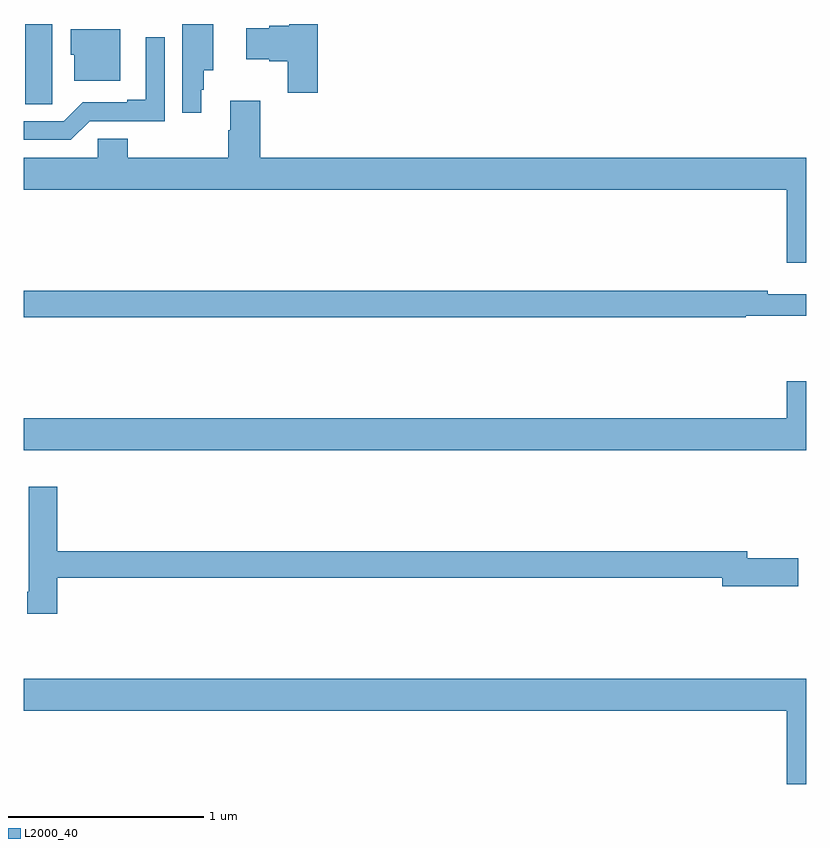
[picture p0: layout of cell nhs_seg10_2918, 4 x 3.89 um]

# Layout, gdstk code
import gdstk
lib = gdstk.Library(unit=1e-6, precision=1e-09)
def P(c, l, *ps):  # polygons
    for p in ps: c.add(gdstk.Polygon(p, *l))
L2000_40 = (2000, 40)

nhs_seg10_2918 = lib.new_cell('nhs_seg10_2918')
P(nhs_seg10_2918, L2000_40, [(270.503,1298.5),(270.356,1298.5),(270.356,1298.492),(270.255,1298.492),(270.255,1298.479),(270.138,1298.479),(270.138,1298.321),(270.255,1298.321),(270.255,1298.309),(270.349,1298.309),(270.349,1298.148),(270.503,1298.148)],
  [(269.908,1298.163),(269.92,1298.163),(269.92,1298.264),(269.968,1298.264),(269.968,1298.5),(269.81,1298.5),(269.81,1298.368),(269.811,1298.368),(269.811,1298.046),(269.908,1298.046)],
  [(269.145,1298.2),(269.146,1298.2),(269.146,1298.5),(269.006,1298.5),(269.006,1298.089),(269.145,1298.089)],
  [(269.494,1298.473),(269.24,1298.473),(269.24,1298.343),(269.258,1298.343),(269.258,1298.21),(269.494,1298.21)],
  [(269.337,1298.004),(269.721,1298.004),(269.721,1298.431),(269.624,1298.431),(269.624,1298.113),(269.528,1298.113),(269.528,1298.1),(269.301,1298.1),(269.205,1298.004),(269,1298.004),(269,1297.908),(269.241,1297.908)],
  [(273,1297.816),(270.209,1297.816),(270.209,1298.107),(270.056,1298.107),(270.056,1297.958),(270.044,1297.958),(270.044,1297.816),(269.531,1297.816),(269.531,1297.914),(269.379,1297.914),(269.379,1297.816),(269,1297.816),(269,1297.652),(272.9,1297.652),(272.9,1297.278),(273,1297.278)],
  [(272.69,1297.008),(273,1297.008),(273,1297.117),(272.804,1297.117),(272.804,1297.136),(269,1297.136),(269,1297),(272.69,1297)],
  [(273,1296.673),(272.9,1296.673),(272.9,1296.484),(269,1296.484),(269,1296.32),(273,1296.32)],
  [(269.171,1295.668),(272.57,1295.668),(272.57,1295.626),(272.959,1295.626),(272.959,1295.768),(272.698,1295.768),(272.698,1295.804),(269.171,1295.804),(269.171,1296.133),(269.024,1296.133),(269.024,1295.596),(269.017,1295.596),(269.017,1295.484),(269.171,1295.484)],
  [(273,1295.152),(269,1295.152),(269,1294.988),(272.9,1294.988),(272.9,1294.614),(273,1294.614)])

lib.write_gds('nhs_seg10_2918.gds')
